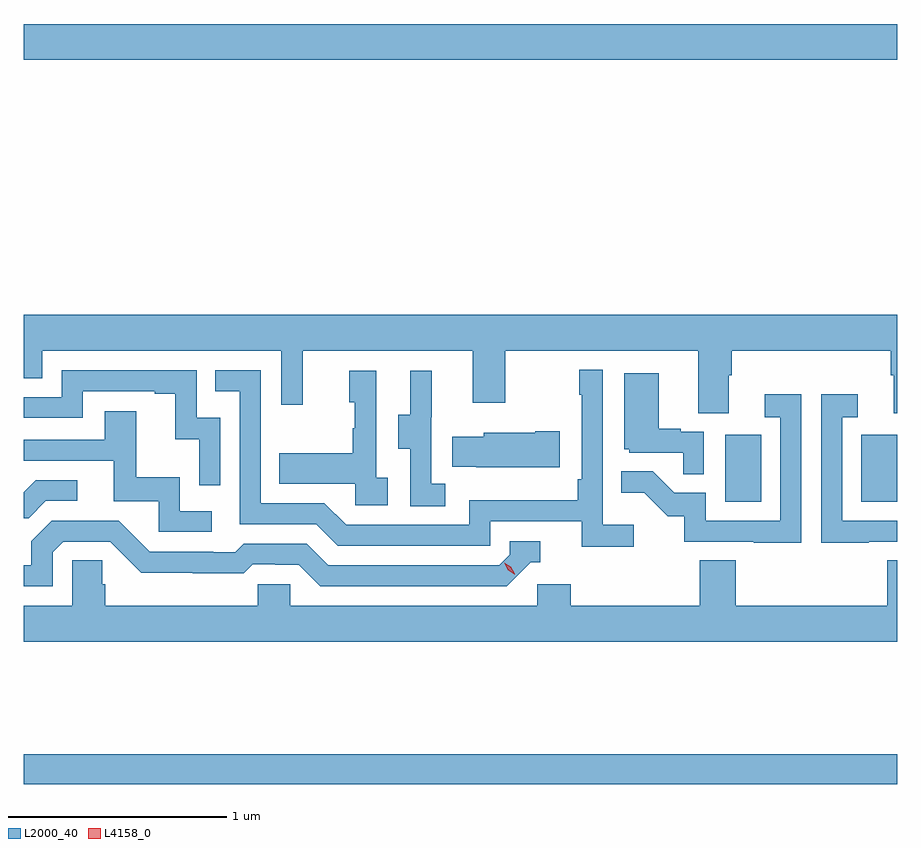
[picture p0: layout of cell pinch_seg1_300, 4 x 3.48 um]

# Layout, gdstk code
import gdstk
lib = gdstk.Library(unit=1e-6, precision=1e-09)
def R(c, l, rs):  # rectangles x0, y0, x1, y1
    for r in rs: c.add(gdstk.rectangle(r[:2], r[2:], *l))
def P(c, l, *ps):  # polygons
    for p in ps: c.add(gdstk.Polygon(p, *l))
L2000_40 = (2000, 40)
L4158_0 = (4158, 0)

pinch_seg1_300 = lib.new_cell('pinch_seg1_300')
R(pinch_seg1_300, L2000_40, [(945.144,548.416,949.144,548.552), (948.356,549.708,948.52,550.015), (948.98,549.708,949.144,550.015), (945.144,551.732,949.144,551.896)])
P(pinch_seg1_300, L2000_40, [(948.373,550.288),(948.386,550.288),(948.386,550.4),(949.115,550.4),(949.115,550.288),(949.127,550.288),(949.127,550.114),(949.144,550.114),(949.144,550.564),(945.144,550.564),(945.144,550.273),(945.228,550.273),(945.228,550.4),(946.323,550.4),(946.323,550.152),(946.421,550.152),(946.421,550.4),(947.201,550.4),(947.201,550.161),(947.349,550.161),(947.349,550.4),(948.233,550.4),(948.233,550.114),(948.373,550.114)],
  [(947.938,549.604),(947.796,549.604),(947.796,550.312),(947.688,550.312),(947.688,550.199),(947.7,550.199),(947.7,549.811),(947.68,549.811),(947.68,549.715),(947.184,549.715),(947.184,549.603),(946.62,549.603),(946.521,549.702),(946.23,549.702),(946.23,550.311),(946.021,550.311),(946.021,550.215),(946.134,550.215),(946.134,549.606),(946.484,549.606),(946.583,549.507),(947.28,549.507),(947.28,549.618),(947.699,549.618),(947.699,549.502),(947.938,549.502)],
  [(946.044,550.092),(945.936,550.092),(945.936,550.311),(945.318,550.311),(945.318,550.188),(945.144,550.188),(945.144,550.092),(945.414,550.092),(945.414,550.215),(945.743,550.215),(945.743,550.203),(945.839,550.203),(945.839,549.995),(945.948,549.995),(945.948,549.783),(946.044,549.783)],
  [(946.81,549.818),(946.758,549.818),(946.758,550.309),(946.634,550.309),(946.634,550.164),(946.66,550.164),(946.66,550.046),(946.65,550.046),(946.65,549.931),(946.315,549.931),(946.315,549.791),(946.662,549.791),(946.662,549.693),(946.81,549.693)],
  [(947.074,549.791),(947.01,549.791),(947.01,550.095),(947.012,550.095),(947.012,550.309),(946.913,550.309),(946.913,550.107),(946.859,550.107),(946.859,549.952),(946.914,549.952),(946.914,549.688),(947.074,549.688)],
  [(948.258,550.029),(948.152,550.029),(948.152,550.042),(948.052,550.042),(948.052,550.297),(947.894,550.297),(947.894,549.948),(947.916,549.948),(947.916,549.933),(948.163,549.933),(948.163,549.835),(948.258,549.835)],
  [(949.013,549.525),(949.144,549.525),(949.144,549.621),(948.891,549.621),(948.891,550.095),(948.964,550.095),(948.964,550.201),(948.795,550.201),(948.795,549.52),(949.013,549.52)],
  [(948.705,550.201),(948.537,550.201),(948.537,550.095),(948.609,550.095),(948.609,549.621),(948.267,549.621),(948.267,549.75),(948.123,549.75),(948.025,549.848),(947.881,549.848),(947.881,549.749),(947.985,549.749),(948.092,549.642),(948.169,549.642),(948.169,549.525),(948.487,549.525),(948.487,549.52),(948.705,549.52)],
  [(946.006,549.666),(945.858,549.666),(945.858,549.82),(945.659,549.82),(945.659,550.123),(945.515,550.123),(945.515,549.993),(945.144,549.993),(945.144,549.897),(945.557,549.897),(945.557,549.711),(945.762,549.711),(945.762,549.57),(946.006,549.57)],
  [(947.599,550.032),(947.486,550.032),(947.486,550.024),(947.25,550.024),(947.25,550.006),(947.107,550.006),(947.107,549.869),(947.215,549.869),(947.215,549.866),(947.599,549.866)],
  [(945.246,549.714),(945.388,549.714),(945.388,549.807),(945.2,549.807),(945.144,549.751),(945.144,549.634),(945.166,549.634)],
  [(945.276,549.477),(945.324,549.525),(945.54,549.525),(945.682,549.383),(945.918,549.383),(945.918,549.381),(946.151,549.381),(946.193,549.423),(946.296,549.423),(946.296,549.42),(946.403,549.42),(946.502,549.321),(947.355,549.321),(947.466,549.432),(947.509,549.432),(947.509,549.528),(947.37,549.528),(947.37,549.465),(947.322,549.417),(946.539,549.417),(946.44,549.516),(946.151,549.516),(946.112,549.477),(946.013,549.477),(946.013,549.48),(945.72,549.48),(945.579,549.621),(945.273,549.621),(945.179,549.527),(945.179,549.417),(945.144,549.417),(945.144,549.321),(945.276,549.321)],
  [(949.144,549.44),(949.097,549.44),(949.097,549.232),(948.404,549.232),(948.404,549.44),(948.239,549.44),(948.239,549.232),(947.648,549.232),(947.648,549.33),(947.496,549.33),(947.496,549.232),(946.365,549.232),(946.365,549.33),(946.215,549.33),(946.215,549.232),(945.518,549.232),(945.518,549.33),(945.503,549.33),(945.503,549.44),(945.366,549.44),(945.366,549.232),(945.144,549.232),(945.144,549.068),(949.144,549.068)])
P(pinch_seg1_300, L4158_0, [(947.391,549.377),(947.36,549.397),(947.344,549.429),(947.344,549.43),(947.344,549.43),(947.375,549.41),(947.392,549.378),(947.392,549.377)])

lib.write_gds('pinch_seg1_300.gds')
